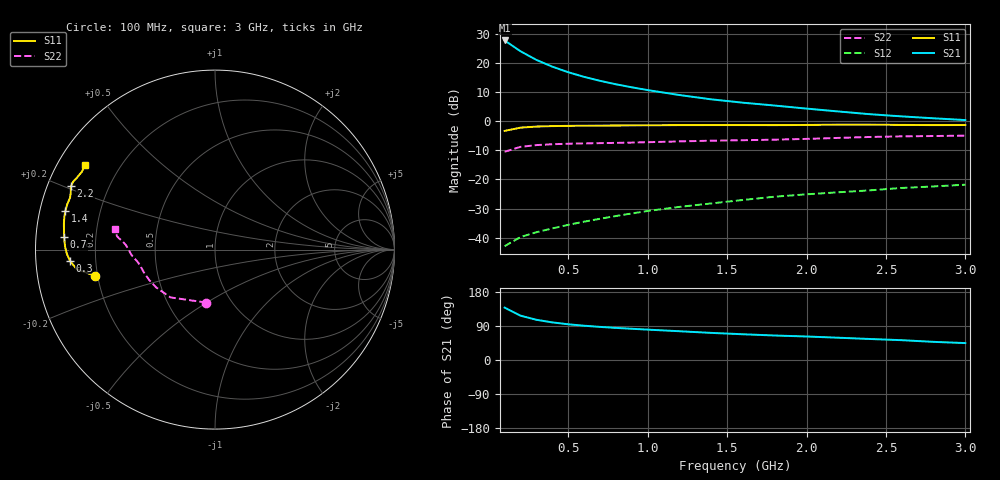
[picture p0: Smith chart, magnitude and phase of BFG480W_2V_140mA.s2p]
! Filename: 2140BFG480.001
! Title: BFG480W
! Bias: Vce=2V; Ic=140mA
! Company: Philips Semiconductors NL
! User: Quality&Reliability T&D
! Measure time: 10 Nov 1999 / 11:55:48
#  MHz  S  MA  R 50
! Freq  S11  S21  S12  S22  :
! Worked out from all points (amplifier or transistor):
!   20 points, 100 MHz to 3 GHz, reference 50 ohm
!   highest |S21| = 27.8 dB at 100 MHz (marker M1)
!   |S21| within 3 dB of that: start of sweep to 180.9 MHz
!   unconditionally stable (mu >= 1): start of sweep to end of sweep
!   at 400 MHz: K = 1.34, MAG = 24.3 dB, |S12| = -36.8 dB
!   at 1.2 GHz: K = 1.49, MAG = 15.1 dB, |S12| = -29.4 dB
!   at 3 GHz: K = 1.51, MAG = 6.9 dB, |S12| = -21.8 dB
!   S11 on the Smith chart (normalised r, x): 100 MHz: 0.19, -0.10; 300 MHz: 0.10, -0.04; 700 MHz: 0.09, +0.04; 1.4 GHz: 0.08, +0.13; 2.2 GHz: 0.07, +0.21; 3 GHz: 0.08, +0.29
100  0.6838 -167.7  24.46 138.3  0.007155 58.1  0.2991 -99.2
200  0.778 -171.9  15.96 117.0  0.01026 53.4  0.3638 -132.9
300  0.8115 -175.7  11.34 106.1  0.01243 55.4  0.3898 -147.3
400  0.8263 -178.5  8.678 99.3  0.01443 58.7  0.4035 -155.0
500  0.8344 179.2  6.963 94.3  0.01662 61.8  0.4114 -159.7
600  0.8395 177.1  5.797 90.5  0.01885 64.1  0.417 -162.9
700  0.8427 175.3  4.957 87.4  0.02114 66.3  0.4212 -165.4
800  0.8465 173.6  4.323 84.7  0.02356 68.0  0.4255 -167.5
900  0.8497 172.0  3.836 82.4  0.02608 69.7  0.4308 -169.4
1000  0.8537 170.5  3.437 80.2  0.02876 70.7  0.437 -171.1
1200  0.859 167.8  2.825 75.9  0.03384 72.1  0.4512 -173.8
1400  0.8611 165.4  2.383 71.5  0.03878 72.7  0.464 -175.9
1600  0.8611 162.9  2.086 67.9  0.0445 73.1  0.4728 -177.9
1800  0.8578 160.3  1.863 64.6  0.05065 73.3  0.4834 179.6
2000  0.8648 158.3  1.652 62.0  0.05566 74.0  0.4983 176.9
2200  0.8766 156.3  1.475 58.8  0.06026 73.7  0.5181 174.8
2400  0.8762 154.4  1.322 55.4  0.06515 73.0  0.5375 173.4
2600  0.8667 152.3  1.213 52.3  0.0716 72.0  0.5511 172.3
2800  0.8595 149.7  1.126 47.9  0.07606 70.5  0.5581 170.6
3000  0.8629 147.1  1.049 44.7  0.08145 69.6  0.567 168.1
